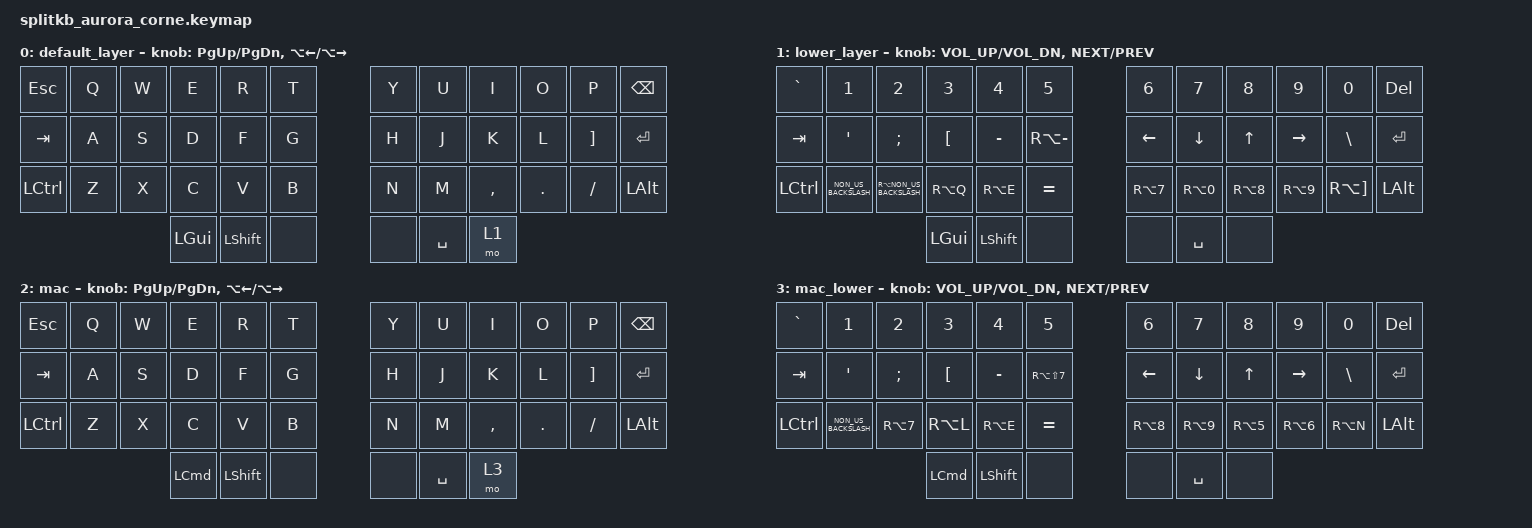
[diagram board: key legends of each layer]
/*
 * Copyright (c) 2020 The ZMK Contributors
 *
 * SPDX-License-Identifier: MIT
 */

#include <behaviors.dtsi>
#include <dt-bindings/zmk/bt.h>
#include <dt-bindings/zmk/keys.h>

/ {
    combos {
        compatible = "zmk,combos";

        linux {
            bindings = <&to 0>;
            key-positions = <0 12 24>;
        };

        mac {
            bindings = <&to 2>;
            key-positions = <11 23 35>;
        };

        linuxbt {
            bindings = <&bt BT_SEL 0>;
            key-positions = <0 12 24>;
        };

        macbt {
            bindings = <&bt BT_SEL 1>;
            key-positions = <11 23 35>;
        };

        btclr {
            bindings = <&bt BT_CLR_ALL>;
            key-positions = <4 5 6 7>;
        };
    };

    keymap {
        compatible = "zmk,keymap";

        default_layer {
            // -----------------------------------------------------------------------------------------
            // |  TAB |  Q  |  W  |  E  |  R  |  T  |   |  Y  |  U   |  I  |  O  |  P  | BKSP |
            // | CTRL |  A  |  S  |  D  |  F  |  G  |   |  H  |  J   |  K  |  L  |  ;  |  '   |
            // | SHFT |  Z  |  X  |  C  |  V  |  B  |   |  N  |  M   |  ,  |  .  |  /  | ESC  |
            //                    | GUI | LWR | SPC |   | ENT | RSE  | ALT |

            bindings = <
&kp ESCAPE  &kp Q  &kp W  &kp E     &kp R           &kp T    &kp Y  &kp U      &kp I      &kp O    &kp P              &kp BSPC
&kp TAB     &kp A  &kp S  &kp D     &kp F           &kp G    &kp H  &kp J      &kp K      &kp L    &kp RIGHT_BRACKET  &kp RETURN
&kp LCTRL   &kp Z  &kp X  &kp C     &kp V           &kp B    &kp N  &kp M      &kp COMMA  &kp DOT  &kp FSLH           &kp LEFT_ALT
                          &kp LGUI  &kp LEFT_SHIFT  &none    &none  &kp SPACE  &mo 1
            >;

            sensor-bindings =
                <&inc_dec_kp PG_UP PAGE_DOWN>,
                <&inc_dec_kp LA(LEFT) LA(RIGHT)>;
        };

        lower_layer {
            // -----------------------------------------------------------------------------------------
            // |  TAB |  1  |  2  |  3  |  4  |  5  |   |  6  |  7  |  8  |  9  |  0  | BKSP |
            // | BTCLR| BT1 | BT2 | BT3 | BT4 | BT5 |   | LFT | DWN |  UP | RGT |     |      |
            // | SHFT |     |     |     |     |     |   |     |     |     |     |     |      |
            //                    | GUI |     | SPC |   | ENT |     | ALT |

            bindings = <
&kp GRAVE  &kp N1                &kp N2                    &kp N3            &kp N4          &kp N5           &kp N6      &kp N7            &kp N8      &kp N9      &kp N0                 &kp DELETE
&kp TAB    &kp SQT               &kp SEMICOLON             &kp LEFT_BRACKET  &kp MINUS       &kp RA(MINUS)    &kp LEFT    &kp DOWN          &kp UP      &kp RIGHT   &kp BACKSLASH          &kp ENTER
&kp LCTRL  &kp NON_US_BACKSLASH  &kp RA(NON_US_BACKSLASH)  &kp RA(Q)         &kp RA(E)       &kp EQUAL        &kp RA(N7)  &kp RA(NUMBER_0)  &kp RA(N8)  &kp RA(N9)  &kp RA(RIGHT_BRACKET)  &kp LEFT_ALT
                                                           &kp LGUI          &kp LEFT_SHIFT  &none            &none       &kp SPACE         &none
            >;

            sensor-bindings =
                <&inc_dec_kp C_VOLUME_UP C_VOL_DN>,
                <&inc_dec_kp C_NEXT C_PREV>;
        };

        mac {
            bindings = <
&kp ESCAPE        &kp Q  &kp W  &kp E             &kp R           &kp T    &kp Y  &kp U      &kp I      &kp O    &kp P              &kp BSPC
&kp TAB           &kp A  &kp S  &kp D             &kp F           &kp G    &kp H  &kp J      &kp K      &kp L    &kp RIGHT_BRACKET  &kp RETURN
&kp LEFT_CONTROL  &kp Z  &kp X  &kp C             &kp V           &kp B    &kp N  &kp M      &kp COMMA  &kp DOT  &kp FSLH           &kp LEFT_ALT
                                &kp LEFT_COMMAND  &kp LEFT_SHIFT  &none    &none  &kp SPACE  &mo 3
            >;

            sensor-bindings =
                <&inc_dec_kp PG_UP PAGE_DOWN>,
                <&inc_dec_kp LA(LEFT) LA(RIGHT)>;
        };

        mac_lower {
            bindings = <
&kp GRAVE         &kp N1                &kp N2         &kp N3            &kp N4          &kp N5            &kp N6      &kp N7      &kp N8      &kp N9            &kp N0         &kp DELETE
&kp TAB           &kp SQT               &kp SEMICOLON  &kp LEFT_BRACKET  &kp MINUS       &kp RA(LS(N7))    &kp LEFT    &kp DOWN    &kp UP      &kp RIGHT         &kp BACKSLASH  &kp ENTER
&kp LEFT_CONTROL  &kp NON_US_BACKSLASH  &kp RA(N7)     &kp RA(L)         &kp RA(E)       &kp EQUAL         &kp RA(N8)  &kp RA(N9)  &kp RA(N5)  &kp RA(NUMBER_6)  &kp RA(N)      &kp LEFT_ALT
                                                       &kp LEFT_COMMAND  &kp LEFT_SHIFT  &none             &none       &kp SPACE   &none
            >;

            sensor-bindings =
                <&inc_dec_kp C_VOLUME_UP C_VOL_DN>,
                <&inc_dec_kp C_NEXT C_PREV>;
        };
    };
};
